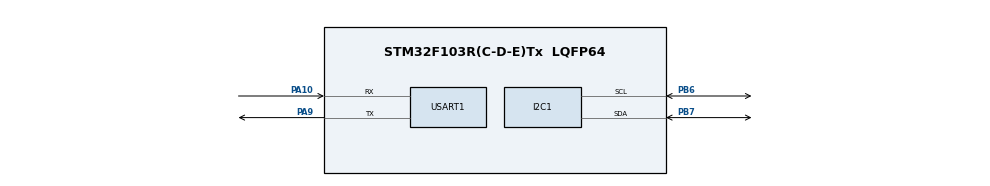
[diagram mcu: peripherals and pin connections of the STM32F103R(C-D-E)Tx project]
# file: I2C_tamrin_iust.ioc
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Mcu.Family=STM32F1
Mcu.Name=STM32F103R(C-D-E)Tx
Mcu.Package=LQFP64
NVIC.PriorityGroup=NVIC_PRIORITYGROUP_4
NVIC.USART1_IRQn=true\:0\:0\:false\:false\:true\:true\:true
PA10.Mode=Asynchronous
PA10.Signal=USART1_RX
PA13.Mode=Serial_Wire
PA13.Signal=SYS_JTMS-SWDIO
PA14.Mode=Serial_Wire
PA14.Signal=SYS_JTCK-SWCLK
PA9.Mode=Asynchronous
PA9.Signal=USART1_TX
PB6.Mode=I2C
PB6.Signal=I2C1_SCL
PB7.Mode=I2C
PB7.Signal=I2C1_SDA
ProjectManager.HeapSize=0x200
ProjectManager.StackSize=0x400
ProjectManager.TargetToolchain=EWARM V8
RCC.APB1Freq_Value=8000000
RCC.APB2Freq_Value=8000000
USART1.VirtualMode=VM_ASYNC
board=custom

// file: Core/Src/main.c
/* USER CODE BEGIN Header */
/**
  ******************************************************************************
  * @file           : main.c
  * @brief          : Main program body
  ******************************************************************************
  * @attention
  *
  * <h2><center>&copy; Copyright (c) 2021 STMicroelectronics.
  * All rights reserved.</center></h2>
  *
  * This software component is licensed by ST under BSD 3-Clause license,
  * the "License"; You may not use this file except in compliance with the
  * License. You may obtain a copy of the License at:
  *                        opensource.org/licenses/BSD-3-Clause
  *
  ******************************************************************************
  */
/* USER CODE END Header */
#include "main.h"

/* USER CODE BEGIN Includes */
#include <stdio.h>
/* USER CODE END Includes */

I2C_HandleTypeDef hi2c1;

UART_HandleTypeDef huart1;

/* USER CODE BEGIN PV */
int i=0;
int len;
char buffer[100];
char transfer_buffer[100];
char Rx_data[2],Rx_indx,Rx_Buffer[100],Transfer_cplt;
float i1;

typedef union
  {
    float bits32_var;
    char  bits8_var[4];
  }Xfer_type;

Xfer_type my_transfer_var;
Xfer_type my_transfer_var2;

/* USER CODE END PV */

void SystemClock_Config(void);
static void MX_GPIO_Init(void);
static void MX_I2C1_Init(void);
static void MX_USART1_UART_Init(void);

/* USER CODE BEGIN 0 */

void HAL_UART_RxCpltCallback (UART_HandleTypeDef *huart){

	uint8_t i;
	if(huart->Instance==USART1)
	{
	if(Rx_indx==0){for(i=0;i<100;i++)Rx_Buffer[i]=0;}
	if(Rx_data[0]!=13)
	{
	Rx_Buffer[Rx_indx++]=Rx_data[0];
	}
	else
	{
	Rx_indx=0;
	Transfer_cplt=1;
	}
	HAL_UART_Receive_IT(&huart1,Rx_data,1);

	}

	}

//*************************************************************EEPROM Write Function
void ee_write(uint16_t ee_add, uint16_t add, uint8_t data)
{
  uint8_t ee_w[3];
  HAL_Delay(5);
  ee_w[1]=add;
  ee_w[0]=(add>>8);
  ee_w[2]=data;
  HAL_I2C_Master_Transmit(&hi2c1, ee_add, ee_w, 3, 1);
}
//*************************************************************EEPROM Write Function

//*************************************************************EEPROM Read Function
uint8_t ee_read(uint16_t ee_add, uint16_t add)
{
  uint8_t ee_r[2],read;
  HAL_Delay(5);
  ee_r[1]=add;
  ee_r[0]=(add>>8);
  HAL_I2C_Master_Transmit(&hi2c1, ee_add, ee_r, 2, 1);
  HAL_I2C_Master_Receive(&hi2c1, ee_add, &read, 1, 1);
  return read;
}
//*************************************************************EEPROM Read Function
/* USER CODE END 0 */

int main(void)
{

  /* MCU Configuration--------------------------------------------------------*/

  /* Reset of all peripherals, Initializes the Flash interface and the Systick. */
  HAL_Init();

  /* Configure the system clock */
  SystemClock_Config();

  /* Initialize all configured peripherals */
  MX_GPIO_Init();
  MX_I2C1_Init();
  MX_USART1_UART_Init();
  /* USER CODE BEGIN 2 */
HAL_UART_Receive_IT(&huart1,Rx_data,1);
  /* USER CODE END 2 */

  /* Infinite loop */
  /* USER CODE BEGIN WHILE */
  while (1)
  {

    if(Transfer_cplt)
      {
         sprintf(buffer,"%s\r\n",Rx_Buffer);
	 len=strlen(buffer);
	 //HAL_UART_Transmit(&huart1,buffer,len,1000);

         sscanf(buffer,"%*[^0123456789]%f",&i1);//takes float var out

         my_transfer_var.bits32_var = i1;
         //writing float var to AT24C512
         ee_write(0xa0, 0, my_transfer_var.bits8_var[0]);
         ee_write(0xa0, 1, my_transfer_var.bits8_var[1]);
         ee_write(0xa0, 2, my_transfer_var.bits8_var[2]);
         ee_write(0xa0, 3, my_transfer_var.bits8_var[3]);

         //readig from AT24C512
         my_transfer_var2.bits8_var[0] = ee_read(0xa0, 0);
         my_transfer_var2.bits8_var[1] = ee_read(0xa0, 1);
         my_transfer_var2.bits8_var[2] = ee_read(0xa0, 2);
         my_transfer_var2.bits8_var[3] = ee_read(0xa0, 3);

        sprintf(transfer_buffer,"eeprom value is:%f",my_transfer_var2.bits32_var);
        HAL_UART_Transmit(&huart1,transfer_buffer,strlen(transfer_buffer),1000);

         Transfer_cplt=0;
         HAL_Delay(500);
	 i++;
      }

    /* USER CODE END WHILE */

  }
}

void SystemClock_Config(void)
{
  RCC_OscInitTypeDef RCC_OscInitStruct = {0};
  RCC_ClkInitTypeDef RCC_ClkInitStruct = {0};

  /** Initializes the RCC Oscillators according to the specified parameters
  * in the RCC_OscInitTypeDef structure.
  */
  RCC_OscInitStruct.OscillatorType = RCC_OSCILLATORTYPE_HSI;
  RCC_OscInitStruct.HSIState = RCC_HSI_ON;
  RCC_OscInitStruct.HSICalibrationValue = RCC_HSICALIBRATION_DEFAULT;
  RCC_OscInitStruct.PLL.PLLState = RCC_PLL_NONE;
  if (HAL_RCC_OscConfig(&RCC_OscInitStruct) != HAL_OK)
  {
    Error_Handler();
  }
  /** Initializes the CPU, AHB and APB buses clocks
  */
  RCC_ClkInitStruct.ClockType = RCC_CLOCKTYPE_HCLK|RCC_CLOCKTYPE_SYSCLK
                              |RCC_CLOCKTYPE_PCLK1|RCC_CLOCKTYPE_PCLK2;
  RCC_ClkInitStruct.SYSCLKSource = RCC_SYSCLKSOURCE_HSI;
  RCC_ClkInitStruct.AHBCLKDivider = RCC_SYSCLK_DIV1;
  RCC_ClkInitStruct.APB1CLKDivider = RCC_HCLK_DIV1;
  RCC_ClkInitStruct.APB2CLKDivider = RCC_HCLK_DIV1;

  if (HAL_RCC_ClockConfig(&RCC_ClkInitStruct, FLASH_LATENCY_0) != HAL_OK)
  {
    Error_Handler();
  }
}

static void MX_I2C1_Init(void)
{

  hi2c1.Instance = I2C1;
  hi2c1.Init.ClockSpeed = 100000;
  hi2c1.Init.DutyCycle = I2C_DUTYCYCLE_2;
  hi2c1.Init.OwnAddress1 = 0;
  hi2c1.Init.AddressingMode = I2C_ADDRESSINGMODE_7BIT;
  hi2c1.Init.DualAddressMode = I2C_DUALADDRESS_DISABLE;
  hi2c1.Init.OwnAddress2 = 0;
  hi2c1.Init.GeneralCallMode = I2C_GENERALCALL_DISABLE;
  hi2c1.Init.NoStretchMode = I2C_NOSTRETCH_DISABLE;
  if (HAL_I2C_Init(&hi2c1) != HAL_OK)
  {
    Error_Handler();
  }

}

static void MX_USART1_UART_Init(void)
{

  huart1.Instance = USART1;
  huart1.Init.BaudRate = 115200;
  huart1.Init.WordLength = UART_WORDLENGTH_8B;
  huart1.Init.StopBits = UART_STOPBITS_1;
  huart1.Init.Parity = UART_PARITY_NONE;
  huart1.Init.Mode = UART_MODE_TX_RX;
  huart1.Init.HwFlowCtl = UART_HWCONTROL_NONE;
  huart1.Init.OverSampling = UART_OVERSAMPLING_16;
  if (HAL_UART_Init(&huart1) != HAL_OK)
  {
    Error_Handler();
  }

}

static void MX_GPIO_Init(void)
{

  /* GPIO Ports Clock Enable */
  __HAL_RCC_GPIOA_CLK_ENABLE();
  __HAL_RCC_GPIOB_CLK_ENABLE();

}

void Error_Handler(void)
{
  __disable_irq();
  while (1)
  {
  }
}

/************************ (C) COPYRIGHT STMicroelectronics *****END OF FILE****/
